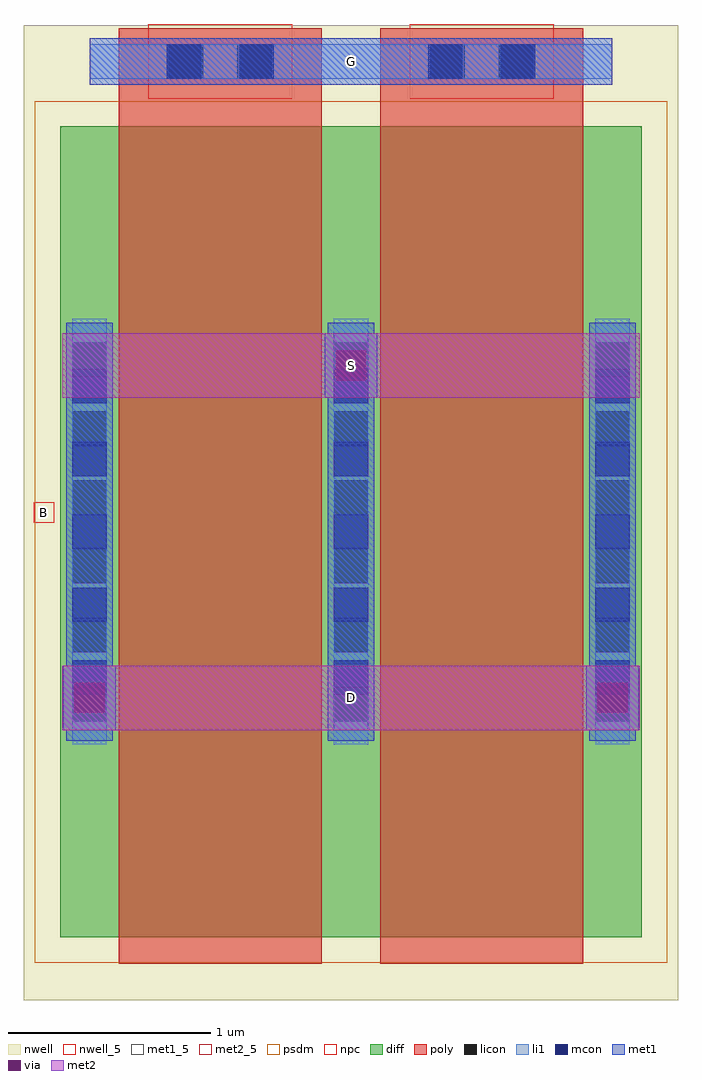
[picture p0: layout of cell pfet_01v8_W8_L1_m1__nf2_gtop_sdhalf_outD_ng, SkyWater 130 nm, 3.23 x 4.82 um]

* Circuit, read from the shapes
.subckt pfet_01v8_W8_L1_m1__nf2_gtop_sdhalf_outD_ng B D G S
XM1 S G D B sky130_fd_pr__pfet_01v8 w=4 l=1 m=2
.ends

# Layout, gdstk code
import gdstk
lib = gdstk.Library(unit=1e-6, precision=1e-09)
def R(c, l, rs):  # rectangles x0, y0, x1, y1
    for r in rs: c.add(gdstk.rectangle(r[:2], r[2:], *l))
def A(c, l, x, y, w, h, nx, ny, dx, dy):  # array of equal rectangles
    R(c, l, [(x+i*dx, y+j*dy, x+i*dx+w, y+j*dy+h) for i in range(nx) for j in range(ny)])
nwell_5 = (64, 5)
nwell = (64, 20)
diff = (65, 20)
poly = (66, 20)
licon = (66, 44)
li1 = (67, 20)
mcon = (67, 44)
met1_5 = (68, 5)
met1 = (68, 20)
via = (68, 44)
met2_5 = (69, 5)
met2 = (69, 20)
psdm = (94, 20)
npc = (95, 20)

sky130_fd_pr__pfet_01v8_ = lib.new_cell('sky130_fd_pr__pfet_01v8_YTA929')
R(sky130_fd_pr__pfet_01v8_, nwell, [(-1.615,-2.49,1.615,2.32)])
R(sky130_fd_pr__pfet_01v8_, diff, [(-1.435,-2.18,1.435,1.82)])
R(sky130_fd_pr__pfet_01v8_, poly, [(-1.145,-2.31,-0.145,2.305), (0.145,-2.31,1.145,2.305)])
A(sky130_fd_pr__pfet_01v8_, licon, -1.375, -1.115, 0.17, 0.17, 3, 6, 1.29, 0.34)
R(sky130_fd_pr__pfet_01v8_, licon, [(-0.9,2.055,-0.73,2.225), (-0.56,2.055,-0.39,2.225), (0.39,2.055,0.56,2.225), (0.73,2.055,0.9,2.225)])
A(sky130_fd_pr__pfet_01v8_, li1, -1.375, -1.23, 0.17, 2.1, 3, 1, 1.29, 0)
R(sky130_fd_pr__pfet_01v8_, li1, [(-1.29,2.055,1.29,2.225)])
A(sky130_fd_pr__pfet_01v8_, mcon, -1.375, -0.985, 0.17, 0.17, 3, 5, 1.29, 0.36)
R(sky130_fd_pr__pfet_01v8_, mcon, [(-0.91,2.055,-0.74,2.225), (-0.55,2.055,-0.38,2.225), (0.38,2.055,0.55,2.225), (0.74,2.055,0.91,2.225)])
A(sky130_fd_pr__pfet_01v8_, met1, -1.405, -1.21, 0.23, 2.06, 3, 1, 1.29, 0)
R(sky130_fd_pr__pfet_01v8_, met1, [(-1.125,2.025,-0.165,2.055), (0.165,2.025,1.125,2.055), (-1.29,2.055,1.29,2.225), (-1.125,2.225,-0.165,2.255), (0.165,2.225,1.125,2.255)])
R(sky130_fd_pr__pfet_01v8_, psdm, [(-1.56,-2.305,1.56,1.945)])
R(sky130_fd_pr__pfet_01v8_, npc, [(-1,1.955,-0.29,2.325), (0.29,1.955,1,2.325)])
sky130_fd_pr__pfet_01v8_.add(gdstk.Label('D0', (-1.29,-0.18), layer=67, texttype=5))
sky130_fd_pr__pfet_01v8_.add(gdstk.Label('G', (0.645,2.14), layer=67, texttype=5))
sky130_fd_pr__pfet_01v8_.add(gdstk.Label('G', (-0.645,2.14), layer=67, texttype=5))
sky130_fd_pr__pfet_01v8_.add(gdstk.Label('S1', (0,-0.18), layer=67, texttype=5))

pfet_01v8_w8_l1_m1__nf2_ = lib.new_cell('pfet_01v8_W8_L1_m1__nf2_gtop_sdhalf_outD_ng')
R(pfet_01v8_w8_l1_m1__nf2_, nwell_5, [(0.05,2.355,0.15,2.455)])
R(pfet_01v8_w8_l1_m1__nf2_, nwell, [(0.05,2.355,0.15,2.455)])
R(pfet_01v8_w8_l1_m1__nf2_, met1_5, [(0.325,4.515,2.905,4.745)])
R(pfet_01v8_w8_l1_m1__nf2_, met1, [(0.195,1.33,0.455,1.65), (2.775,1.33,3.035,1.65), (1.485,2.97,1.745,3.29), (0.325,4.515,2.905,4.745)])
R(pfet_01v8_w8_l1_m1__nf2_, via, [(0.25,1.415,0.4,1.565), (2.83,1.415,2.98,1.565), (1.54,3.055,1.69,3.205)])
R(pfet_01v8_w8_l1_m1__nf2_, met2_5, [(0.19,1.33,3.04,1.65), (0.19,2.97,3.04,3.29)])
R(pfet_01v8_w8_l1_m1__nf2_, met2, [(0.19,1.33,3.04,1.65), (0.19,2.97,3.04,3.29)])
pfet_01v8_w8_l1_m1__nf2_.add(gdstk.Reference(sky130_fd_pr__pfet_01v8_, (1.615,2.49)))
pfet_01v8_w8_l1_m1__nf2_.add(gdstk.Label('S', (1.615,3.13), layer=69, texttype=5))
pfet_01v8_w8_l1_m1__nf2_.add(gdstk.Label('D', (1.615,1.49), layer=69, texttype=5))
pfet_01v8_w8_l1_m1__nf2_.add(gdstk.Label('G', (1.615,4.63), layer=68, texttype=5))
pfet_01v8_w8_l1_m1__nf2_.add(gdstk.Label('B', (0.1,2.405), layer=64, texttype=5))

lib.write_gds('pfet_01v8_W8_L1_m1__nf2_gtop_sdhalf_outD_ng.gds')
